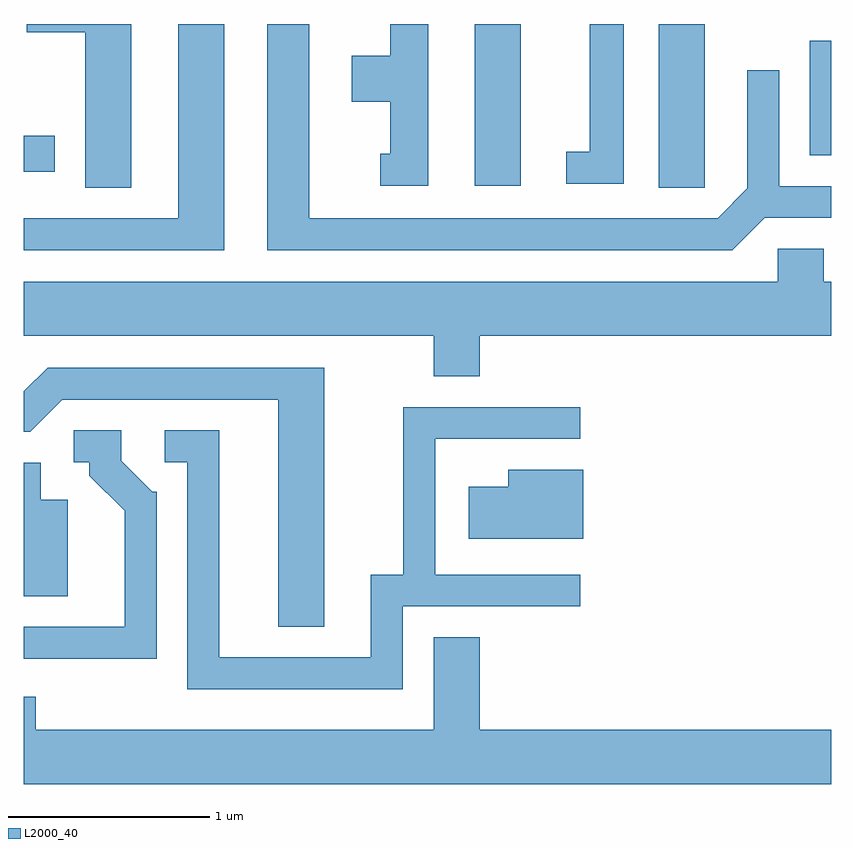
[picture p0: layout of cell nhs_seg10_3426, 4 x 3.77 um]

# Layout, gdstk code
import gdstk
lib = gdstk.Library(unit=1e-6, precision=1e-09)
def R(c, l, rs):  # rectangles x0, y0, x1, y1
    for r in rs: c.add(gdstk.rectangle(r[:2], r[2:], *l))
def P(c, l, *ps):  # polygons
    for p in ps: c.add(gdstk.Polygon(p, *l))
L2000_40 = (2000, 40)

nhs_seg10_3426 = lib.new_cell('nhs_seg10_3426')
R(nhs_seg10_3426, L2000_40, [(288.756,2165.711,288.984,2166.522), (287.846,2165.721,288.074,2166.522), (285.611,2165.791,285.764,2165.969), (289.506,2165.871,289.611,2166.439)])
P(nhs_seg10_3426, L2000_40, [(286.144,2166.522),(285.626,2166.522),(285.626,2166.481),(285.916,2166.481),(285.916,2165.711),(286.144,2165.711)],
  [(288.584,2166.522),(288.416,2166.522),(288.416,2165.889),(288.298,2165.889),(288.298,2165.731),(288.584,2165.731)],
  [(286.604,2166.522),(286.376,2166.522),(286.376,2165.559),(285.611,2165.559),(285.611,2165.401),(286.604,2165.401)],
  [(289.282,2165.561),(289.611,2165.561),(289.611,2165.719),(289.354,2165.719),(289.354,2166.293),(289.196,2166.293),(289.196,2165.707),(289.049,2165.559),(287.024,2165.559),(287.024,2166.522),(286.816,2166.522),(286.816,2165.401),(289.122,2165.401)],
  [(287.614,2166.522),(287.426,2166.522),(287.426,2166.364),(287.236,2166.364),(287.236,2166.136),(287.426,2166.136),(287.426,2165.879),(287.378,2165.879),(287.378,2165.721),(287.614,2165.721)],
  [(287.869,2164.976),(289.611,2164.976),(289.611,2165.244),(289.574,2165.244),(289.574,2165.409),(289.346,2165.409),(289.346,2165.244),(285.611,2165.244),(285.611,2164.976),(287.641,2164.976),(287.641,2164.776),(287.869,2164.776)],
  [(287.099,2164.819),(285.729,2164.819),(285.611,2164.701),(285.611,2164.501),(285.642,2164.501),(285.802,2164.661),(286.871,2164.661),(286.871,2163.536),(287.099,2163.536)],
  [(287.489,2163.636),(288.368,2163.636),(288.368,2163.794),(287.649,2163.794),(287.649,2164.466),(288.368,2164.466),(288.368,2164.624),(287.491,2164.624),(287.491,2163.794),(287.331,2163.794),(287.331,2163.384),(286.579,2163.384),(286.579,2164.509),(286.308,2164.509),(286.308,2164.351),(286.421,2164.351),(286.421,2163.226),(287.489,2163.226)],
  [(286.269,2164.204),(286.247,2164.204),(286.094,2164.357),(286.094,2164.509),(285.858,2164.509),(285.858,2164.351),(285.936,2164.351),(285.936,2164.284),(286.111,2164.109),(286.111,2163.534),(285.611,2163.534),(285.611,2163.376),(286.269,2163.376)],
  [(285.829,2164.164),(285.694,2164.164),(285.694,2164.349),(285.611,2164.349),(285.611,2163.686),(285.829,2163.686)],
  [(288.384,2164.314),(288.011,2164.314),(288.011,2164.229),(287.816,2164.229),(287.816,2163.971),(288.384,2163.971)],
  [(289.611,2163.024),(287.869,2163.024),(287.869,2163.484),(287.641,2163.484),(287.641,2163.024),(285.669,2163.024),(285.669,2163.189),(285.611,2163.189),(285.611,2162.756),(289.611,2162.756)])

lib.write_gds('nhs_seg10_3426.gds')
